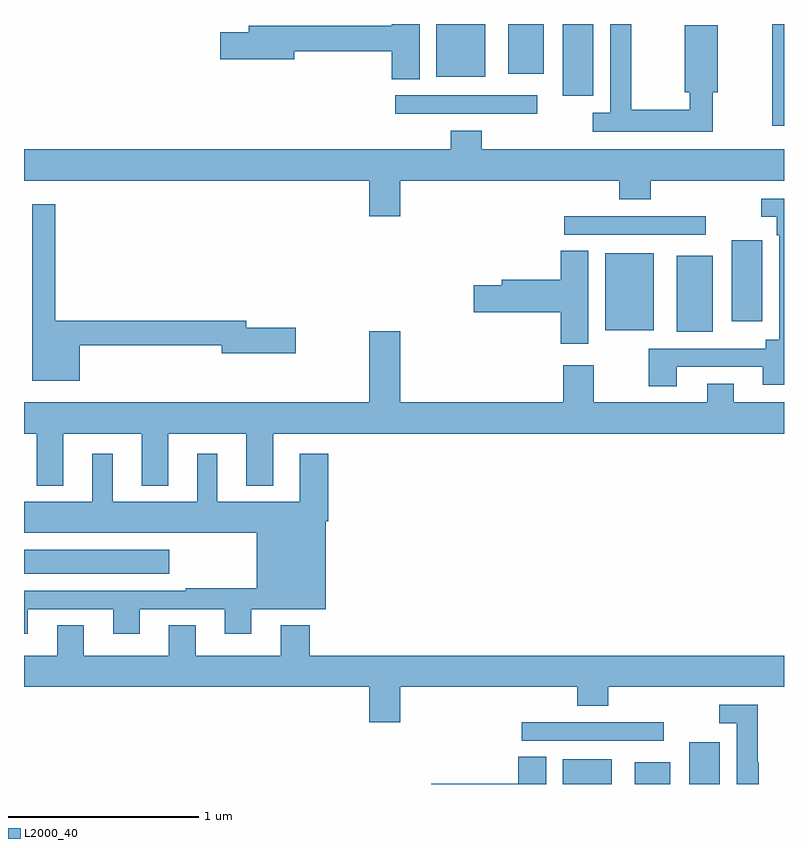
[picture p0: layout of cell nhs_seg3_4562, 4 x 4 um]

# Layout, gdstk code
import gdstk
lib = gdstk.Library(unit=1e-6, precision=1e-09)
def R(c, l, rs):  # rectangles x0, y0, x1, y1
    for r in rs: c.add(gdstk.rectangle(r[:2], r[2:], *l))
def P(c, l, *ps):  # polygons
    for p in ps: c.add(gdstk.Polygon(p, *l))
L2000_40 = (2000, 40)

nhs_seg3_4562 = lib.new_cell('nhs_seg3_4562')
R(nhs_seg3_4562, L2000_40, [(357.836,704.4,358.093,704.53), (358.214,704.4,358.402,704.515), (358.502,704.4,358.663,704.62), (357.621,704.628,358.366,704.724), (355,705.506,355.765,705.634), (358.436,706.781,358.624,707.179), (358.058,706.787,358.315,707.194), (358.724,706.836,358.885,707.263), (357.843,707.292,358.588,707.388), (358.939,707.864,359,708.4), (356.955,707.928,357.7,708.024), (357.836,708.023,357.997,708.4), (357.17,708.122,357.427,708.4), (357.548,708.137,357.736,708.4)])
P(nhs_seg3_4562, L2000_40, [(358.624,708.041),(358.65,708.041),(358.65,708.394),(358.477,708.394),(358.477,708.041),(358.503,708.041),(358.503,707.948),(358.195,707.948),(358.195,708.4),(358.086,708.4),(358.086,707.932),(357.993,707.932),(357.993,707.832),(358.624,707.832)],
  [(357.082,708.4),(356.936,708.4),(356.936,708.392),(356.183,708.392),(356.183,708.356),(356.034,708.356),(356.034,708.214),(356.422,708.214),(356.422,708.256),(356.936,708.256),(356.936,708.109),(357.082,708.109)],
  [(356.98,707.576),(358.133,707.576),(358.133,707.477),(358.298,707.477),(358.298,707.576),(359,707.576),(359,707.74),(357.41,707.74),(357.41,707.839),(357.245,707.839),(357.245,707.74),(355,707.74),(355,707.576),(356.816,707.576),(356.816,707.388),(356.98,707.388)],
  [(358.435,706.596),(358.889,706.596),(358.889,706.502),(359,706.502),(359,707.481),(358.881,707.481),(358.881,707.385),(358.962,707.385),(358.962,707.288),(358.974,707.288),(358.974,706.738),(358.904,706.738),(358.904,706.692),(358.288,706.692),(358.288,706.494),(358.435,706.494)],
  [(355.294,706.71),(356.042,706.71),(356.042,706.667),(356.431,706.667),(356.431,706.802),(356.17,706.802),(356.17,706.838),(355.165,706.838),(355.165,707.452),(355.043,707.452),(355.043,706.523),(355.294,706.523)],
  [(357.97,707.207),(357.824,707.207),(357.824,707.054),(357.515,707.054),(357.515,707.024),(357.366,707.024),(357.366,706.882),(357.824,706.882),(357.824,706.716),(357.97,706.716)],
  [(355.207,706.244),(355.619,706.244),(355.619,705.971),(355.759,705.971),(355.759,706.244),(356.171,706.244),(356.171,705.971),(356.311,705.971),(356.311,706.244),(359,706.244),(359,706.408),(358.735,706.408),(358.735,706.507),(358.595,706.507),(358.595,706.408),(357.999,706.408),(357.999,706.603),(357.839,706.603),(357.839,706.408),(356.98,706.408),(356.98,706.783),(356.816,706.783),(356.816,706.408),(355,706.408),(355,706.244),(355.067,706.244),(355.067,705.971),(355.207,705.971)],
  [(355.021,705.321),(355.469,705.321),(355.469,705.192),(355.609,705.192),(355.609,705.321),(356.057,705.321),(356.057,705.192),(356.197,705.192),(356.197,705.32),(356.587,705.32),(356.587,705.782),(356.6,705.782),(356.6,706.138),(356.45,706.138),(356.45,705.886),(356.017,705.886),(356.017,706.138),(355.913,706.138),(355.913,705.886),(355.468,705.886),(355.468,706.138),(355.358,706.138),(355.358,705.886),(355,705.886),(355,705.722),(356.225,705.722),(356.225,705.43),(355.852,705.43),(355.852,705.417),(355,705.417),(355,705.192),(355.021,705.192)],
  [(356.98,704.912),(357.911,704.912),(357.911,704.813),(358.076,704.813),(358.076,704.912),(359,704.912),(359,705.076),(356.504,705.076),(356.504,705.235),(356.351,705.235),(356.351,705.076),(355.903,705.076),(355.903,705.236),(355.763,705.236),(355.763,705.076),(355.315,705.076),(355.315,705.236),(355.175,705.236),(355.175,705.076),(355,705.076),(355,704.912),(356.816,704.912),(356.816,704.724),(356.98,704.724)],
  [(358.868,704.514),(358.861,704.514),(358.861,704.817),(358.659,704.817),(358.659,704.721),(358.752,704.721),(358.752,704.4),(358.868,704.4)],
  [(357.748,704.543),(357.602,704.543),(357.602,704.402),(357.144,704.402),(357.144,704.4),(357.748,704.4)])

lib.write_gds('nhs_seg3_4562.gds')
